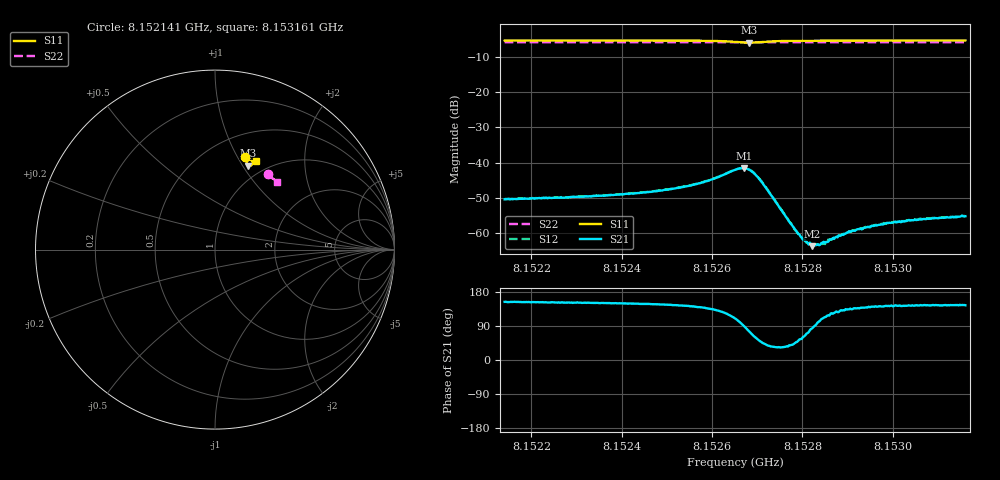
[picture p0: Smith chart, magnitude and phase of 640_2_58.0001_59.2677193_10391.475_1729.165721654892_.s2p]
#  HZ  S  RI  R  50.00
! Rohde & Schwarz Vector Network Analyzer
! Rohde-Schwarz,ZNB20-2Port,1311601062101988,3.16
! Created: UTC 3/21/2024, 1:19:00 AM
! freq[Hz]  re:S11  im:S11  re:S21  im:S21  re:S12  im:S12  re:S22  im:S22
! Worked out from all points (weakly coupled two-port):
!   401 points, 8.152141 GHz to 8.153161 GHz, reference 50 ohm
!   highest |S21| = -41.54 dB at 8.152671 GHz (marker M1); lowest = -63.7 dB at 8.152822 GHz (marker M2)
!   lowest |S11| = -6.0 dB at 8.152681 GHz (marker M3), VSWR 3.02, Z = 42.4 + j53.1 ohm
!   |S11| at or under -10 dB: nowhere
!   |S22| runs from -5.9 to -5.8 dB; largest |S21 - S12| = 0.00014
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8.1521406e9  0.1667 0.5141  -0.00271 0.00136  -0.00273 0.00142  0.2939 0.4192
8.1523114e9  0.1794 0.5099  -0.00287 0.00161  -0.00289 0.00163  0.3027 0.4126
8.1524058e9  0.1868 0.5071  -0.0031 0.00182  -0.00309 0.00189  0.3073 0.4089
8.1524823e9  0.1935 0.504  -0.00335 0.00218  -0.00335 0.00227  0.3113 0.4059
8.152569e9  0.2028 0.4975  -0.00385 0.0033  -0.00382 0.00332  0.3157 0.4022
8.1526098e9  0.2077 0.4902  -0.00405 0.00461  -0.00402 0.00468  0.3176 0.4003
8.1526506e9  0.2065 0.4742  -0.0027 0.00743  -0.00263 0.00754  0.3191 0.3982
8.152671e9  0.195 0.4666  0.000154 0.00837  0.000217 0.00839  0.3196 0.3972
8.1526812e9  0.1866 0.4672  0.00188 0.00777  0.00193 0.00782  0.3199 0.3969
8.1526965e9  0.1776 0.4753  0.0035 0.00572  0.00361 0.00575  0.3203 0.3968
8.1527118e9  0.1761 0.4853  0.00362 0.00362  0.00368 0.00363  0.3211 0.3967
8.1527883e9  0.1925 0.5002  0.000685 0.000763  0.000705 0.000761  0.3255 0.3939
8.1528011e9  0.1946 0.5004  0.000392 0.000708  0.000406 0.000721  0.3261 0.3934
8.1528088e9  0.1957 0.5004  0.000268 0.000717  0.000279 0.000677  0.3266 0.393
8.1528215e9  0.1975 0.5005  7.42e-05 0.000651  7.83e-05 0.000683  0.3273 0.3924
8.1528343e9  0.1992 0.5004  -0.000116 0.000687  -0.000114 0.00069  0.3279 0.3919
8.1528496e9  0.201 0.5001  -0.000289 0.000671  -0.000242 0.000659  0.3286 0.3913
8.1528623e9  0.2024 0.4999  -0.000443 0.00069  -0.000435 0.000701  0.3293 0.3906
8.1529184e9  0.208 0.4987  -0.000798 0.000769  -0.000816 0.000787  0.332 0.3882
8.1529924e9  0.2144 0.4967  -0.00111 0.000862  -0.00111 0.000877  0.3357 0.385
8.1530867e9  0.2215 0.4941  -0.00133 0.000942  -0.00132 0.000982  0.3401 0.381
8.1531607e9  0.2268 0.4918  -0.00142 0.00101  -0.00142 0.00102  0.3434 0.3779
